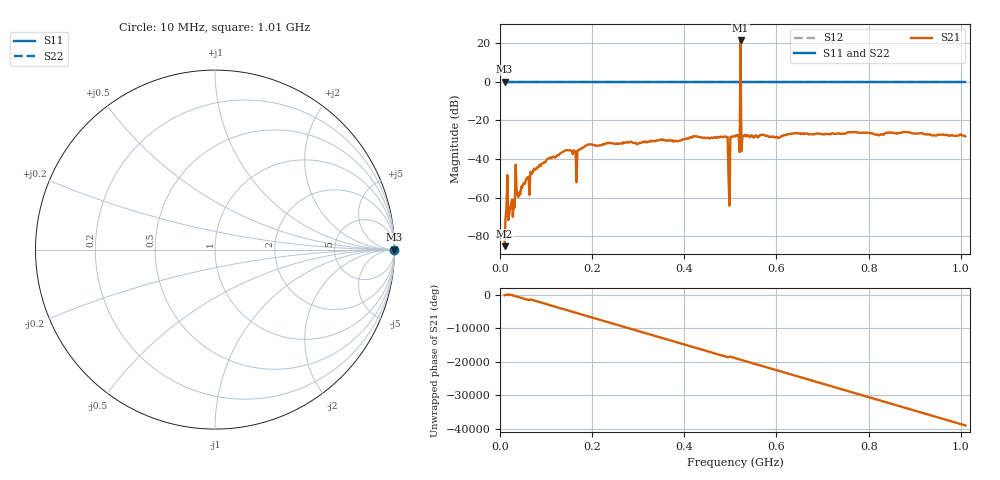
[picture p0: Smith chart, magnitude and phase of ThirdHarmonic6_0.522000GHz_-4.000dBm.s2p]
! 8/15/2025 4:05:08 PM
! C:\ANRITSUVNA\TEMP\TEMP.S2P
! CHANNEL.1
! TR.MEASUREMENT
! RAW.DATA
! RF.CORRECTION.OFF
! AVERAGING.OFF
! IF.BANDWIDTH: 5KHZ
! SWEEPTYPE:  FREQ.SWEEP(Linear)
! Reference Plane Port Info
! PORT:  PORT1  PORT2
! DISTANCE:  0  m  0  m
! TIME:  0  s  0  s
! PHASE.OFFSET:  0  deg.  0  deg.
! LOSS:  0  dB  0  dB
! REF.LOSS:  0  dB  0  dB
! REF.FREQ:  0  Hz  0  Hz
! Power Info
! POWER:  -20  dBm  -20  dBm
! EFF.POWER:  -20  dBm  -20  dBm
! SOURCE.ATTEN:  0  dB  0  dB
! TEST.ATTEN:  0  dB  0  dB
# GHZ S RI R 50.0
! FREQ.GHZ  S11RE  S11IM  S21RE  S21IM  S12RE  S12IM  S22RE  S22IM
!; PortSelection: Port_12
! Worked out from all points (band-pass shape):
!   501 points, 10 MHz to 1.01 GHz, reference 50 ohm
!   highest |S21| = 21.39 dB at 522 MHz (marker M1); lowest = -85.1 dB at 10 MHz (marker M2)
!   |S21| within 3 dB of the highest: 521.8962 MHz to 522.1049 MHz (208.6 kHz wide, 0.04 % of centre)
!   lowest |S11| = 0.0 dB at 10 MHz (marker M3)
!   |S11| at or under -10 dB: nowhere
!   |S22| runs from 0.0 to 0.0 dB; largest |S21 - S12| = 11
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0.01  1 0  -4.35e-05 -3.47e-05  1 0  1 0
0.018  1 0  -0.000163 -0.000207  1 0  1 0
0.024  1 0  6.21e-05 -0.000641  1 0  1 0
0.038  1 0  -0.000803 0.000802  1 0  1 0
0.042  1 0  0.000574 -0.00125  1 0  1 0
0.07  1 0  -0.00162 -0.0039  1 0  1 0
0.178  1 0  -0.0189 -0.00248  1 0  1 0
0.344  1 0  0.0287 -0.0108  1 0  1 0
0.49  1 0  -0.0261 -0.0272  1 0  1 0
0.494  1 0  0.0142 0.0346  1 0  1 0
0.498  1 0  -0.000454 -0.00043  1 0  1 0
0.5  1 0  -0.0372 -0.00427  1 0  1 0
0.504  1 0  0.0346 0.0168  1 0  1 0
0.51  1 0  -0.0315 0.0222  1 0  1 0
0.516  1 0  -0.00436 -0.0408  1 0  1 0
0.518  1 0  -0.0403 -0.00124  1 0  1 0
0.522  1 0  10.98 4.13  1 0  1 0
0.526  1 0  -0.0286 -0.0242  1 0  1 0
0.528  1 0  -0.0311 0.025  1 0  1 0
0.678  1 0  -0.0301 -0.0322  1 0  1 0
0.844  1 0  0.0447 0.0178  1 0  1 0
1.01  1 0  -0.038 0.00761  1 0  1 0
